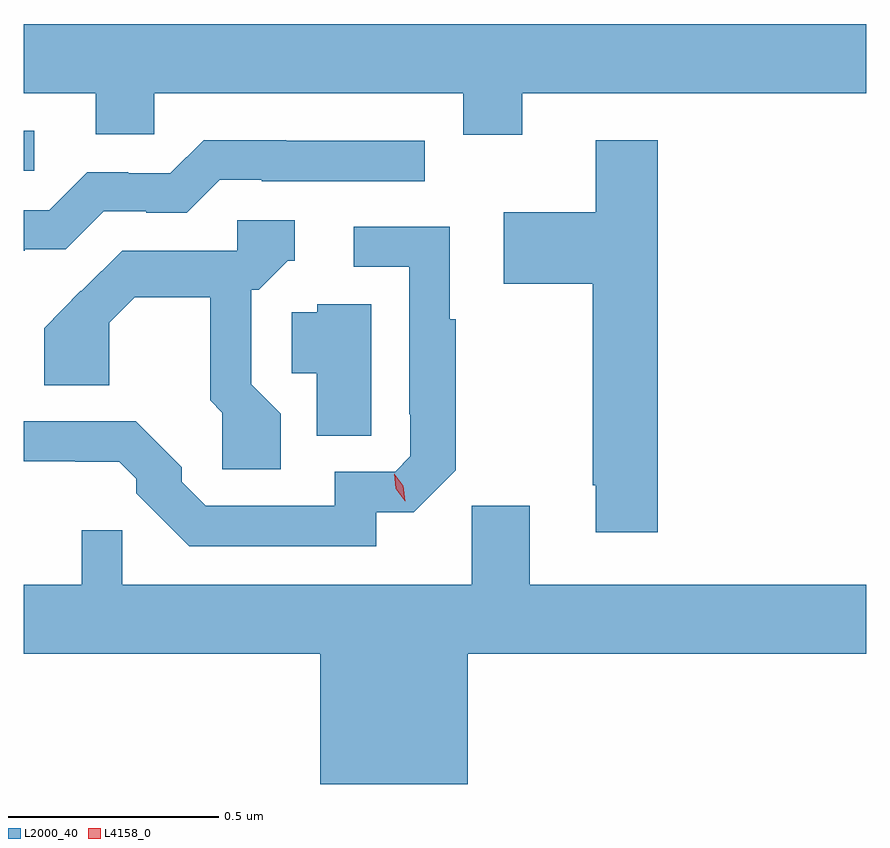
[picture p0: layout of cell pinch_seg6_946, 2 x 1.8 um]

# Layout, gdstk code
import gdstk
lib = gdstk.Library(unit=1e-6, precision=1e-09)
def R(c, l, rs):  # rectangles x0, y0, x1, y1
    for r in rs: c.add(gdstk.rectangle(r[:2], r[2:], *l))
def P(c, l, *ps):  # polygons
    for p in ps: c.add(gdstk.Polygon(p, *l))
L2000_40 = (2000, 40)
L4158_0 = (4158, 0)

pinch_seg6_946 = lib.new_cell('pinch_seg6_946')
R(pinch_seg6_946, L2000_40, [(220.38,953.811,220.405,953.907)])
P(pinch_seg6_946, L2000_40, [(220.38,953.996),(220.55,953.996),(220.55,953.898),(220.689,953.898),(220.689,953.996),(221.423,953.996),(221.423,953.897),(221.563,953.897),(221.563,953.996),(222.38,953.996),(222.38,954.16),(220.38,954.16)],
  [(220.382,953.625),(220.479,953.625),(220.569,953.715),(220.67,953.715),(220.67,953.712),(220.767,953.712),(220.845,953.79),(220.945,953.79),(220.945,953.787),(221.332,953.787),(221.332,953.883),(221.003,953.883),(221.003,953.884),(220.807,953.884),(220.728,953.805),(220.628,953.805),(220.628,953.808),(220.53,953.808),(220.44,953.718),(220.38,953.718),(220.38,953.622),(220.382,953.622)],
  [(221.885,953.884),(221.738,953.884),(221.738,953.713),(221.52,953.713),(221.52,953.543),(221.731,953.543),(221.731,953.065),(221.738,953.065),(221.738,952.953),(221.885,952.953)],
  [(220.99,953.234),(220.92,953.304),(220.92,953.529),(220.938,953.529),(221.007,953.598),(221.023,953.598),(221.023,953.694),(220.887,953.694),(220.887,953.622),(220.613,953.622),(220.516,953.525),(220.515,953.526),(220.428,953.438),(220.428,953.302),(220.582,953.302),(220.582,953.45),(220.643,953.511),(220.822,953.511),(220.822,953.266),(220.851,953.237),(220.851,953.103),(220.99,953.103)],
  [(221.217,953.001),(221.306,953.001),(221.406,953.1),(221.406,953.459),(221.391,953.459),(221.391,953.679),(221.163,953.679),(221.163,953.583),(221.295,953.583),(221.295,953.233),(221.298,953.233),(221.298,953.133),(221.262,953.097),(221.118,953.097),(221.118,953.016),(220.812,953.016),(220.755,953.073),(220.755,953.107),(220.645,953.217),(220.38,953.217),(220.38,953.121),(220.502,953.121),(220.502,953.12),(220.606,953.12),(220.647,953.08),(220.647,953.045),(220.772,952.92),(221.217,952.92)],
  [(221.205,953.494),(221.076,953.494),(221.076,953.475),(221.016,953.475),(221.016,953.33),(221.075,953.33),(221.075,953.182),(221.205,953.182)],
  [(221.434,952.664),(222.38,952.664),(222.38,952.828),(221.581,952.828),(221.581,953.016),(221.443,953.016),(221.443,952.828),(220.613,952.828),(220.613,952.958),(220.517,952.958),(220.517,952.828),(220.38,952.828),(220.38,952.664),(221.084,952.664),(221.084,952.355),(221.434,952.355)])
P(pinch_seg6_946, L4158_0, [(221.285,953.026),(221.285,953.026),(221.263,953.056),(221.259,953.092),(221.259,953.092),(221.259,953.092),(221.281,953.063),(221.285,953.026)])

lib.write_gds('pinch_seg6_946.gds')
